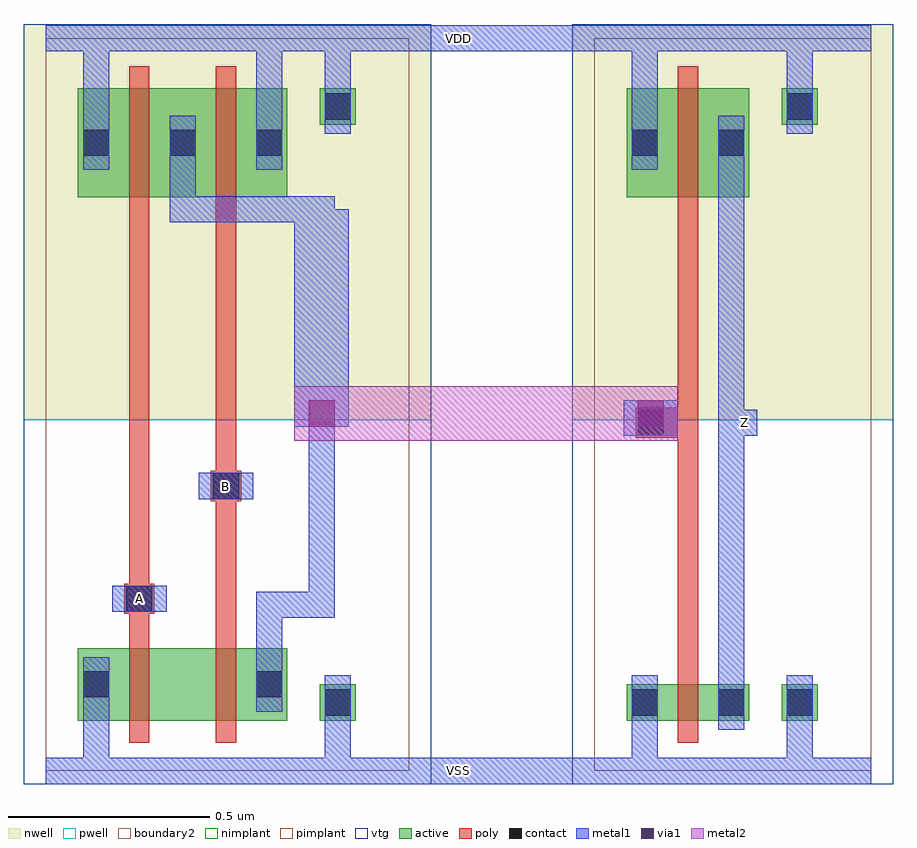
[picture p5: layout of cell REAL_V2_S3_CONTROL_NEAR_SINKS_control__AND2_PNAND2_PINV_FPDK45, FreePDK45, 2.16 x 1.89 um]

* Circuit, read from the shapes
.subckt REAL_V2_S3_CONTROL_NEAR_SINKS_control__AND2_PNAND2_PINV_FPDK45 A B VDD VSS Z
M1 n1 A VSS VSS nfet w=0.18u l=0.05u
M2 n2 B n1 VSS nfet w=0.18u l=0.05u
M3 Z n2 VSS VSS nfet w=0.09u l=0.05u
M4 n2 A VDD VDD pfet w=0.27u l=0.05u
M5 VDD B n2 VDD pfet w=0.27u l=0.05u
M6 Z n2 VDD VDD pfet w=0.27u l=0.05u
.ends

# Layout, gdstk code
import gdstk
lib = gdstk.Library(unit=1e-6, precision=5e-10)
def R(c, l, rs):  # rectangles x0, y0, x1, y1
    for r in rs: c.add(gdstk.rectangle(r[:2], r[2:], *l))
active = (1, 0)
pwell = (2, 0)
nwell = (3, 0)
nimplant = (4, 0)
pimplant = (5, 0)
vtg = (6, 0)
poly = (9, 0)
contact = (10, 0)
metal1 = (11, 0)
via1 = (12, 0)
metal2 = (13, 0)
boundary2 = (239, 0)

real_v2_s3_control_near_ = lib.new_cell('REAL_V2_S3_CONTROL_NEAR_SINKS_control__TEAMB_CLONE__nand__PNAND2_NW180_PW270_L50_FPDK45__PNAND2_NW180_PW270_L50_FPDK45_contact_8')
R(real_v2_s3_control_near_, active, [(0,0.0225,0.09,0.1125)])
R(real_v2_s3_control_near_, nwell, [(-0.055,-0.0325,0.145,0.1675)])
R(real_v2_s3_control_near_, pimplant, [(0,0.0225,0.09,0.1125)])
R(real_v2_s3_control_near_, contact, [(0.0125,0.035,0.0775,0.1)])
R(real_v2_s3_control_near_, metal1, [(0.0125,0,0.0775,0.135)])
R(real_v2_s3_control_near_, boundary2, [(-0.055,-0.0325,0.145,0.1675)])

c_real_v2_s3_control_near_ = lib.new_cell('REAL_V2_S3_CONTROL_NEAR_SINKS_control__TEAMB_CLONE__nand__PNAND2_NW180_PW270_L50_FPDK45__PNAND2_NW180_PW270_L50_FPDK45_pmos_m1_w0_270_sm1_dm1')
R(c_real_v2_s3_control_near_, active, [(0,0,0.305,0.27)])
R(c_real_v2_s3_control_near_, nwell, [(-0.08,-0.08,0.385,0.35)])
R(c_real_v2_s3_control_near_, pimplant, [(0,0,0.305,0.27)])
R(c_real_v2_s3_control_near_, vtg, [(-0.08,-0.08,0.385,0.35)])
R(c_real_v2_s3_control_near_, poly, [(0.1275,-0.055,0.1775,0.325), (0.1275,-0.055,0.1775,0.325)])
R(c_real_v2_s3_control_near_, metal1, [(0.0125,0.0675,0.0775,0.2025), (0.2275,0.0675,0.2925,0.2025)])
R(c_real_v2_s3_control_near_, boundary2, [(-0.08,-0.08,0.385,0.35)])
c_real_v2_s3_control_near_.add(gdstk.Reference(real_v2_s3_control_near_, (0,0.0675)))
c_real_v2_s3_control_near_.add(gdstk.Reference(real_v2_s3_control_near_, (0.215,0.0675)))

c_real_v2_s3_control_near__ = lib.new_cell('REAL_V2_S3_CONTROL_NEAR_SINKS_control__TEAMB_CLONE__nand__PNAND2_NW180_PW270_L50_FPDK45__PNAND2_NW180_PW270_L50_FPDK45_contact_7')
R(c_real_v2_s3_control_near__, active, [(0,0.0225,0.09,0.1125)])
R(c_real_v2_s3_control_near__, pwell, [(-0.055,-0.0325,0.145,0.1675)])
R(c_real_v2_s3_control_near__, nimplant, [(0,0.0225,0.09,0.1125)])
R(c_real_v2_s3_control_near__, contact, [(0.0125,0.035,0.0775,0.1)])
R(c_real_v2_s3_control_near__, metal1, [(0.0125,0,0.0775,0.135)])
R(c_real_v2_s3_control_near__, boundary2, [(-0.055,-0.0325,0.145,0.1675)])

c_real_v2_s3_control_near___ = lib.new_cell('REAL_V2_S3_CONTROL_NEAR_SINKS_control__TEAMB_CLONE__nand__PNAND2_NW180_PW270_L50_FPDK45__PNAND2_NW180_PW270_L50_FPDK45_nmos_m1_w0_180_sm1_dactive')
R(c_real_v2_s3_control_near___, active, [(0,0,0.305,0.18), (0.215,0.045,0.305,0.135)])
R(c_real_v2_s3_control_near___, pwell, [(-0.08,-0.08,0.385,0.26)])
R(c_real_v2_s3_control_near___, nimplant, [(0,0,0.305,0.18)])
R(c_real_v2_s3_control_near___, vtg, [(-0.08,-0.08,0.385,0.26)])
R(c_real_v2_s3_control_near___, poly, [(0.1275,-0.055,0.1775,0.235), (0.1275,-0.055,0.1775,0.235)])
R(c_real_v2_s3_control_near___, metal1, [(0.0125,0.0225,0.0775,0.1575)])
R(c_real_v2_s3_control_near___, boundary2, [(-0.08,-0.08,0.385,0.26)])
c_real_v2_s3_control_near___.add(gdstk.Reference(c_real_v2_s3_control_near__, (0,0.0225)))

c_real_v2_s3_control_near____ = lib.new_cell('REAL_V2_S3_CONTROL_NEAR_SINKS_control__TEAMB_CLONE__nand__PNAND2_NW180_PW270_L50_FPDK45__PNAND2_NW180_PW270_L50_FPDK45_nmos_m1_w0_180_sactive_dm1')
R(c_real_v2_s3_control_near____, active, [(0,0,0.305,0.18), (0,0.045,0.09,0.135)])
R(c_real_v2_s3_control_near____, pwell, [(-0.08,-0.08,0.385,0.26)])
R(c_real_v2_s3_control_near____, nimplant, [(0,0,0.305,0.18)])
R(c_real_v2_s3_control_near____, vtg, [(-0.08,-0.08,0.385,0.26)])
R(c_real_v2_s3_control_near____, poly, [(0.1275,-0.055,0.1775,0.235), (0.1275,-0.055,0.1775,0.235)])
R(c_real_v2_s3_control_near____, metal1, [(0.2275,0.0225,0.2925,0.1575)])
R(c_real_v2_s3_control_near____, boundary2, [(-0.08,-0.08,0.385,0.26)])
c_real_v2_s3_control_near____.add(gdstk.Reference(c_real_v2_s3_control_near__, (0.215,0.0225)))

c_real_v2_s3_control_near_____ = lib.new_cell('REAL_V2_S3_CONTROL_NEAR_SINKS_control__TEAMB_CLONE__nand__PNAND2_NW180_PW270_L50_FPDK45__PNAND2_NW180_PW270_L50_FPDK45_contact_9')
R(c_real_v2_s3_control_near_____, active, [(0,0.0225,0.09,0.1125)])
R(c_real_v2_s3_control_near_____, nwell, [(-0.055,-0.0325,0.145,0.1675)])
R(c_real_v2_s3_control_near_____, nimplant, [(0,0.0225,0.09,0.1125)])
R(c_real_v2_s3_control_near_____, contact, [(0.0125,0.035,0.0775,0.1)])
R(c_real_v2_s3_control_near_____, metal1, [(0.0125,0,0.0775,0.135)])
R(c_real_v2_s3_control_near_____, boundary2, [(-0.055,-0.0325,0.145,0.1675)])

c_real_v2_s3_control_near______ = lib.new_cell('REAL_V2_S3_CONTROL_NEAR_SINKS_control__TEAMB_CLONE__nand__PNAND2_NW180_PW270_L50_FPDK45__PNAND2_NW180_PW270_L50_FPDK45_contact_10')
R(c_real_v2_s3_control_near______, active, [(0,0.0225,0.09,0.1125)])
R(c_real_v2_s3_control_near______, pwell, [(-0.055,-0.0325,0.145,0.1675)])
R(c_real_v2_s3_control_near______, pimplant, [(0,0.0225,0.09,0.1125)])
R(c_real_v2_s3_control_near______, contact, [(0.0125,0.035,0.0775,0.1)])
R(c_real_v2_s3_control_near______, metal1, [(0.0125,0,0.0775,0.135)])
R(c_real_v2_s3_control_near______, boundary2, [(-0.055,-0.0325,0.145,0.1675)])

c_real_v2_s3_control_near_______ = lib.new_cell('REAL_V2_S3_CONTROL_NEAR_SINKS_control__TEAMB_CLONE__nand__PNAND2_NW180_PW270_L50_FPDK45__PNAND2_NW180_PW270_L50_FPDK45_contact_11')
R(c_real_v2_s3_control_near_______, poly, [(0.03,0,0.105,0.075)])
R(c_real_v2_s3_control_near_______, contact, [(0.035,0.005,0.1,0.07)])
R(c_real_v2_s3_control_near_______, metal1, [(0,0.005,0.135,0.07)])
R(c_real_v2_s3_control_near_______, boundary2, [(0,0,0.135,0.075)])

c_real_v2_s3_control_near________ = lib.new_cell('REAL_V2_S3_CONTROL_NEAR_SINKS_control__TEAMB_CLONE__nand__PNAND2_NW180_PW270_L50_FPDK45__PNAND2_NW180_PW270_L50_FPDK45_pnand2')
R(c_real_v2_s3_control_near________, pwell, [(-0.055,-0.0325,0.9575,0.8725)])
R(c_real_v2_s3_control_near________, nwell, [(-0.055,0.8725,0.9575,1.855)])
R(c_real_v2_s3_control_near________, vtg, [(-0.055,-0.0325,0.9575,0.8725), (-0.055,0.8725,0.9575,1.855)])
R(c_real_v2_s3_control_near________, poly, [(0.2075,0.36,0.2575,1.37), (0.4225,0.36,0.4725,1.37), (0.2075,0.39,0.2325,0.465), (0.4225,0.67,0.4475,0.745)])
R(c_real_v2_s3_control_near________, metal1, [(0,-0.0325,0.9025,0.0325), (0.0925,-0.0325,0.1575,0.1475), (0.6925,0,0.7575,0.17), (0.5225,0.2825,0.5875,0.4125), (0.5225,0.38,0.5875,0.445), (0.555,0.38,0.685,0.445), (0.6525,0.38,0.7175,0.445), (0.165,0.395,0.3,0.46), (0.6525,0.4125,0.7175,1.395), (0.38,0.675,0.515,0.74), (0.3075,1.3625,0.3725,1.4275), (0.34,1.3625,0.685,1.4275), (0.6525,1.3625,0.7175,1.4275), (0.3075,1.395,0.3725,1.4925), (0.0925,1.4925,0.1575,1.8525), (0.5225,1.4925,0.5875,1.8525), (0.6925,1.65,0.7575,1.82), (0,1.7875,0.9025,1.8525)])
R(c_real_v2_s3_control_near________, boundary2, [(0,0,0.9025,1.82), (0,0,0.9025,1.82)])
c_real_v2_s3_control_near________.add(gdstk.Reference(c_real_v2_s3_control_near_, (0.08,1.425)))
c_real_v2_s3_control_near________.add(gdstk.Reference(c_real_v2_s3_control_near_, (0.295,1.425)))
c_real_v2_s3_control_near________.add(gdstk.Reference(c_real_v2_s3_control_near___, (0.08,0.125)))
c_real_v2_s3_control_near________.add(gdstk.Reference(c_real_v2_s3_control_near____, (0.295,0.125)))
c_real_v2_s3_control_near________.add(gdstk.Reference(c_real_v2_s3_control_near_____, (0.68,1.5825)))
c_real_v2_s3_control_near________.add(gdstk.Reference(c_real_v2_s3_control_near______, (0.68,0.1025)))
c_real_v2_s3_control_near________.add(gdstk.Reference(c_real_v2_s3_control_near_______, (0.165,0.39)))
c_real_v2_s3_control_near________.add(gdstk.Reference(c_real_v2_s3_control_near_______, (0.38,0.67)))

c_real_v2_s3_control_near_________ = lib.new_cell('REAL_V2_S3_CONTROL_NEAR_SINKS_control__TEAMB_CLONE__nand__PNAND2_NW180_PW270_L50_FPDK45__PNAND2_NW180_PW270_L50_FPDK45')
R(c_real_v2_s3_control_near_________, metal1, [(0,-0.0325,0.9025,0.0325), (0.165,0.395,0.3,0.46), (0.38,0.675,0.515,0.74), (0.6525,1.3625,0.7175,1.4275), (0,1.7875,0.9025,1.8525)])
R(c_real_v2_s3_control_near_________, boundary2, [(0,0,0.9025,1.82)])
c_real_v2_s3_control_near_________.add(gdstk.Reference(c_real_v2_s3_control_near________, (0,0)))

c_real_v2_s3_control_near__________ = lib.new_cell('REAL_V2_S3_CONTROL_NEAR_SINKS_control__TEAMB_CLONE__inv__PINV_NW90_PW270_L50__TRANSMISSION_GATE_NW250_PW500_L50_contact_8')
R(c_real_v2_s3_control_near__________, active, [(0,0.0225,0.09,0.1125), (0,0.0225,0.09,0.1125)])
R(c_real_v2_s3_control_near__________, nwell, [(-0.055,-0.0325,0.145,0.1675), (-0.055,-0.0325,0.145,0.1675)])
R(c_real_v2_s3_control_near__________, pimplant, [(0,0.0225,0.09,0.1125), (0,0.0225,0.09,0.1125)])
R(c_real_v2_s3_control_near__________, contact, [(0.0125,0.035,0.0775,0.1), (0.0125,0.035,0.0775,0.1)])
R(c_real_v2_s3_control_near__________, metal1, [(0.0125,0,0.0775,0.135), (0.0125,0,0.0775,0.135)])
R(c_real_v2_s3_control_near__________, boundary2, [(-0.055,-0.0325,0.145,0.1675), (-0.055,-0.0325,0.145,0.1675)])

c_real_v2_s3_control_near___________ = lib.new_cell('REAL_V2_S3_CONTROL_NEAR_SINKS_control__TEAMB_CLONE__inv__PINV_NW90_PW270_L50__PINV_NW180_PW270_L50_pmos_m1_w0_270_sm1_dm1_da_p')
R(c_real_v2_s3_control_near___________, active, [(0,0,0.305,0.27), (0,0,0.305,0.27)])
R(c_real_v2_s3_control_near___________, nwell, [(-0.08,-0.08,0.385,0.35), (-0.08,-0.08,0.385,0.35)])
R(c_real_v2_s3_control_near___________, pimplant, [(0,0,0.305,0.27), (0,0,0.305,0.27)])
R(c_real_v2_s3_control_near___________, vtg, [(-0.08,-0.08,0.385,0.35), (-0.08,-0.08,0.385,0.35)])
R(c_real_v2_s3_control_near___________, poly, [(0.1275,-0.055,0.1775,0.325), (0.1275,-0.055,0.1775,0.325), (0.1275,-0.055,0.1775,0.325), (0.1275,-0.055,0.1775,0.325)])
R(c_real_v2_s3_control_near___________, metal1, [(0.0125,0.0675,0.0775,0.2025), (0.0125,0.0675,0.0775,0.2025), (0.2275,0.0675,0.2925,0.2025), (0.2275,0.0675,0.2925,0.2025)])
R(c_real_v2_s3_control_near___________, boundary2, [(-0.08,-0.08,0.385,0.35), (-0.08,-0.08,0.385,0.35)])
c_real_v2_s3_control_near___________.add(gdstk.Reference(c_real_v2_s3_control_near__________, (0,0.0675)))
c_real_v2_s3_control_near___________.add(gdstk.Reference(c_real_v2_s3_control_near__________, (0.215,0.0675)))

c_real_v2_s3_control_near____________ = lib.new_cell('REAL_V2_S3_CONTROL_NEAR_SINKS_control__TEAMB_CLONE__inv__PINV_NW90_PW270_L50__TRANSMISSION_GATE_NW250_PW500_L50_contact_7')
R(c_real_v2_s3_control_near____________, active, [(0,0.0225,0.09,0.1125), (0,0.0225,0.09,0.1125)])
R(c_real_v2_s3_control_near____________, pwell, [(-0.055,-0.0325,0.145,0.1675), (-0.055,-0.0325,0.145,0.1675)])
R(c_real_v2_s3_control_near____________, nimplant, [(0,0.0225,0.09,0.1125), (0,0.0225,0.09,0.1125)])
R(c_real_v2_s3_control_near____________, contact, [(0.0125,0.035,0.0775,0.1), (0.0125,0.035,0.0775,0.1)])
R(c_real_v2_s3_control_near____________, metal1, [(0.0125,0,0.0775,0.135), (0.0125,0,0.0775,0.135)])
R(c_real_v2_s3_control_near____________, boundary2, [(-0.055,-0.0325,0.145,0.1675), (-0.055,-0.0325,0.145,0.1675)])

c_real_v2_s3_control_near_____________ = lib.new_cell('REAL_V2_S3_CONTROL_NEAR_SINKS_control__TEAMB_CLONE__inv__PINV_NW90_PW270_L50__PINV_NW90_PW270_L50_nmos_m1_w0_090_sm1_dm1_da_p')
R(c_real_v2_s3_control_near_____________, active, [(0,0,0.305,0.09), (0,0,0.305,0.09)])
R(c_real_v2_s3_control_near_____________, pwell, [(-0.08,-0.08,0.385,0.17), (-0.08,-0.08,0.385,0.17)])
R(c_real_v2_s3_control_near_____________, nimplant, [(0,0,0.305,0.09), (0,0,0.305,0.09)])
R(c_real_v2_s3_control_near_____________, vtg, [(-0.08,-0.08,0.385,0.17), (-0.08,-0.08,0.385,0.17)])
R(c_real_v2_s3_control_near_____________, poly, [(0.1275,-0.055,0.1775,0.145), (0.1275,-0.055,0.1775,0.145), (0.1275,-0.055,0.1775,0.145), (0.1275,-0.055,0.1775,0.145)])
R(c_real_v2_s3_control_near_____________, metal1, [(0.0125,-0.0225,0.0775,0.1125), (0.0125,-0.0225,0.0775,0.1125), (0.2275,-0.0225,0.2925,0.1125), (0.2275,-0.0225,0.2925,0.1125)])
R(c_real_v2_s3_control_near_____________, boundary2, [(-0.08,-0.08,0.385,0.17), (-0.08,-0.08,0.385,0.17)])
c_real_v2_s3_control_near_____________.add(gdstk.Reference(c_real_v2_s3_control_near____________, (0,-0.0225)))
c_real_v2_s3_control_near_____________.add(gdstk.Reference(c_real_v2_s3_control_near____________, (0.215,-0.0225)))

c_real_v2_s3_control_near______________ = lib.new_cell('REAL_V2_S3_CONTROL_NEAR_SINKS_control__TEAMB_CLONE__inv__PINV_NW90_PW270_L50__TRANSMISSION_GATE_NW250_PW500_L50_contact_9')
R(c_real_v2_s3_control_near______________, active, [(0,0.0225,0.09,0.1125), (0,0.0225,0.09,0.1125)])
R(c_real_v2_s3_control_near______________, nwell, [(-0.055,-0.0325,0.145,0.1675), (-0.055,-0.0325,0.145,0.1675)])
R(c_real_v2_s3_control_near______________, nimplant, [(0,0.0225,0.09,0.1125), (0,0.0225,0.09,0.1125)])
R(c_real_v2_s3_control_near______________, contact, [(0.0125,0.035,0.0775,0.1), (0.0125,0.035,0.0775,0.1)])
R(c_real_v2_s3_control_near______________, metal1, [(0.0125,0,0.0775,0.135), (0.0125,0,0.0775,0.135)])
R(c_real_v2_s3_control_near______________, boundary2, [(-0.055,-0.0325,0.145,0.1675), (-0.055,-0.0325,0.145,0.1675)])

c_real_v2_s3_control_near_______________ = lib.new_cell('REAL_V2_S3_CONTROL_NEAR_SINKS_control__TEAMB_CLONE__inv__PINV_NW90_PW270_L50__TRANSMISSION_GATE_NW250_PW500_L50_contact_10')
R(c_real_v2_s3_control_near_______________, active, [(0,0.0225,0.09,0.1125), (0,0.0225,0.09,0.1125)])
R(c_real_v2_s3_control_near_______________, pwell, [(-0.055,-0.0325,0.145,0.1675), (-0.055,-0.0325,0.145,0.1675)])
R(c_real_v2_s3_control_near_______________, pimplant, [(0,0.0225,0.09,0.1125), (0,0.0225,0.09,0.1125)])
R(c_real_v2_s3_control_near_______________, contact, [(0.0125,0.035,0.0775,0.1), (0.0125,0.035,0.0775,0.1)])
R(c_real_v2_s3_control_near_______________, metal1, [(0.0125,0,0.0775,0.135), (0.0125,0,0.0775,0.135)])
R(c_real_v2_s3_control_near_______________, boundary2, [(-0.055,-0.0325,0.145,0.1675), (-0.055,-0.0325,0.145,0.1675)])

c_real_v2_s3_control_near________________ = lib.new_cell('REAL_V2_S3_CONTROL_NEAR_SINKS_control__TEAMB_CLONE__inv__PINV_NW90_PW270_L50__PINV_NW180_PW270_L50_contact_11')
R(c_real_v2_s3_control_near________________, poly, [(0.03,0,0.105,0.075), (0.03,0,0.105,0.075)])
R(c_real_v2_s3_control_near________________, contact, [(0.035,0.005,0.1,0.07), (0.035,0.005,0.1,0.07)])
R(c_real_v2_s3_control_near________________, metal1, [(0,0.005,0.135,0.07), (0,0.005,0.135,0.07)])
R(c_real_v2_s3_control_near________________, boundary2, [(0,0,0.135,0.075), (0,0,0.135,0.075)])

c_real_v2_s3_control_near_________________ = lib.new_cell('REAL_V2_S3_CONTROL_NEAR_SINKS_control__TEAMB_CLONE__inv__PINV_NW90_PW270_L50__PINV_NW90_PW270_L50_core')
R(c_real_v2_s3_control_near_________________, pwell, [(-0.055,-0.0325,0.7425,0.8725), (-0.055,-0.0325,0.7425,0.8725)])
R(c_real_v2_s3_control_near_________________, nwell, [(-0.055,0.8725,0.7425,1.855), (-0.055,0.8725,0.7425,1.855)])
R(c_real_v2_s3_control_near_________________, vtg, [(-0.055,-0.0325,0.7425,0.8725), (-0.055,-0.0325,0.7425,0.8725), (-0.055,0.8725,0.7425,1.855), (-0.055,0.8725,0.7425,1.855)])
R(c_real_v2_s3_control_near_________________, poly, [(0.2075,0.27,0.2575,1.37), (0.2075,0.27,0.2575,1.37), (0.14,0.8275,0.2075,0.9025), (0.14,0.8275,0.2075,0.9025)])
R(c_real_v2_s3_control_near_________________, metal1, [(0,-0.0325,0.6875,0.0325), (0,-0.0325,0.6875,0.0325), (0.0925,-0.0325,0.1575,0.1025), (0.0925,-0.0325,0.1575,0.1025), (0.4775,0,0.5425,0.17), (0.4775,0,0.5425,0.17), (0.3075,0.1025,0.3725,1.6275), (0.3075,0.1025,0.3725,1.6275), (0.0725,0.8325,0.2075,0.8975), (0.0725,0.8325,0.2075,0.8975), (0.34,0.8325,0.405,0.8975), (0.34,0.8325,0.405,0.8975), (0.0925,1.4925,0.1575,1.8525), (0.0925,1.4925,0.1575,1.8525), (0.4775,1.65,0.5425,1.82), (0.4775,1.65,0.5425,1.82), (0,1.7875,0.6875,1.8525), (0,1.7875,0.6875,1.8525)])
R(c_real_v2_s3_control_near_________________, boundary2, [(0,0,0.6875,1.82), (0,0,0.6875,1.82), (0,0,0.6875,1.82), (0,0,0.6875,1.82)])
c_real_v2_s3_control_near_________________.add(gdstk.Reference(c_real_v2_s3_control_near___________, (0.08,1.425)))
c_real_v2_s3_control_near_________________.add(gdstk.Reference(c_real_v2_s3_control_near_____________, (0.08,0.125)))
c_real_v2_s3_control_near_________________.add(gdstk.Reference(c_real_v2_s3_control_near______________, (0.465,1.5825)))
c_real_v2_s3_control_near_________________.add(gdstk.Reference(c_real_v2_s3_control_near_______________, (0.465,0.1025)))
c_real_v2_s3_control_near_________________.add(gdstk.Reference(c_real_v2_s3_control_near________________, (0.0725,0.8275)))

c_real_v2_s3_control_near__________________ = lib.new_cell('REAL_V2_S3_CONTROL_NEAR_SINKS_control__TEAMB_CLONE__inv__PINV_NW90_PW270_L50__PINV_NW90_PW270_L50')
R(c_real_v2_s3_control_near__________________, metal1, [(0,-0.0325,0.6875,0.0325), (0,-0.0325,0.6875,0.0325), (0.0725,0.8325,0.2075,0.8975), (0.0725,0.8325,0.2075,0.8975), (0.34,0.8325,0.405,0.8975), (0.34,0.8325,0.405,0.8975), (0,1.7875,0.6875,1.8525), (0,1.7875,0.6875,1.8525)])
R(c_real_v2_s3_control_near__________________, boundary2, [(0,0,0.6875,1.82), (0,0,0.6875,1.82)])
c_real_v2_s3_control_near__________________.add(gdstk.Reference(c_real_v2_s3_control_near_________________, (0,0)))

c_real_v2_s3_control_near___________________ = lib.new_cell('REAL_V2_S3_CONTROL_NEAR_SINKS_control__AND2_PNAND2_PINV_FPDK45')
R(c_real_v2_s3_control_near___________________, metal1, [(0.055,0,2.105,0.065), (0.6725,0.8875,0.8075,1.4275), (1.49,0.8875,1.625,0.9525), (0.055,1.82,2.105,1.885)])
R(c_real_v2_s3_control_near___________________, via1, [(0.7075,0.8875,0.7725,0.9525), (1.525,0.8875,1.59,0.9525)])
R(c_real_v2_s3_control_near___________________, metal2, [(0.6725,0.8525,0.8075,0.9875), (0.74,0.8525,1.5575,0.9875), (1.49,0.8525,1.625,0.9875)])
c_real_v2_s3_control_near___________________.add(gdstk.Reference(c_real_v2_s3_control_near_________, (0.055,0.0325)))
c_real_v2_s3_control_near___________________.add(gdstk.Reference(c_real_v2_s3_control_near__________________, (1.4175,0.0325)))
c_real_v2_s3_control_near___________________.add(gdstk.Label('VDD', (1.08,1.8525), layer=11, texttype=2))
c_real_v2_s3_control_near___________________.add(gdstk.Label('VSS', (1.08,0.0325), layer=11, texttype=2))
c_real_v2_s3_control_near___________________.add(gdstk.Label('A', (0.2875,0.46), layer=11, texttype=2))
c_real_v2_s3_control_near___________________.add(gdstk.Label('B', (0.5025,0.74), layer=11, texttype=2))
c_real_v2_s3_control_near___________________.add(gdstk.Label('Z', (1.79,0.8975), layer=11, texttype=2))

lib.write_gds('REAL_V2_S3_CONTROL_NEAR_SINKS_control__AND2_PNAND2_PINV_FPDK45.gds')
